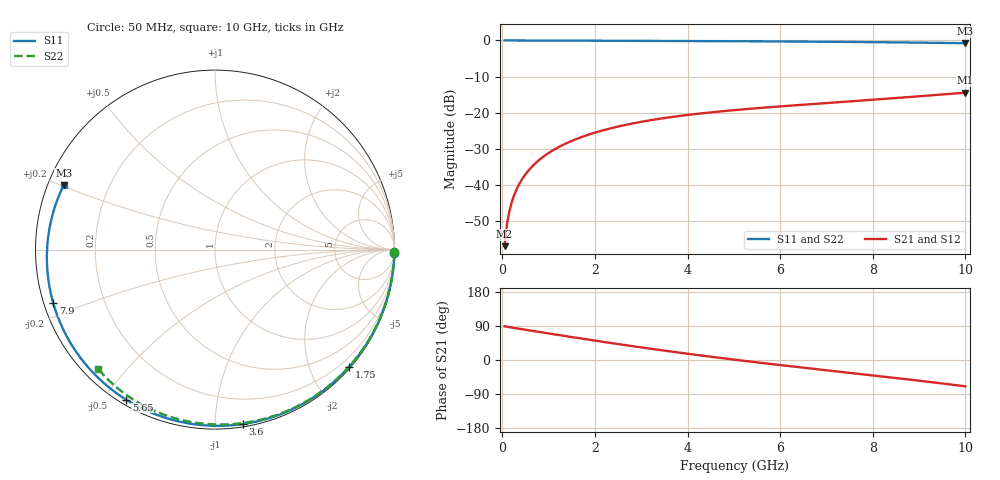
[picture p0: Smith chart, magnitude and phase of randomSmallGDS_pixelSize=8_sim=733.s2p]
! freq	dB(S11)	phase(S11)	dB(S12)	phase(S12)
!  dB(S21)	phase(S21)	dB(S22)	phase(S22)
!S-par simulation data
#  GHz  S  DB  R 50
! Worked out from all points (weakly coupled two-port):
!   200 points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, 50 MHz to 10 GHz, reference 50 ohm
!   highest |S21| = -14.46 dB at 10 GHz (marker M1); lowest = -56.9 dB at 50 MHz (marker M2)
!   lowest |S11| = -0.8 dB at 10 GHz (marker M3), VSWR 22.86, Z = 2.28 + j10.2 ohm
!   |S11| at or under -10 dB: nowhere
!   |S22| runs from -0.6 to 0.0 dB; largest |S21 - S12| = 0
!   S11 on the Smith chart (normalised r, x): 50 MHz: 1, -95; 1.75 GHz: 0.03, -2.67; 3.6 GHz: 0.02, -1.17; 5.65 GHz: 0.02, -0.57; 7.9 GHz: 0.03, -0.16; 10 GHz: 0.05, +0.20
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0.05  -0.00 -1.2  -56.95 88.9  -56.95 88.9  -0.00 -0.8
0.1  -0.00 -2.4  -50.94 87.8  -50.94 87.8  -0.00 -1.6
0.15  -0.00 -3.6  -47.43 86.7  -47.43 86.7  -0.00 -2.4
0.2  -0.01 -4.8  -44.95 85.7  -44.95 85.7  -0.00 -3.2
0.35  -0.01 -8.4  -40.13 82.7  -40.13 82.7  -0.01 -5.5
0.5  -0.02 -11.9  -37.06 79.8  -37.06 79.8  -0.01 -7.9
0.7  -0.02 -16.7  -34.18 75.9  -34.18 75.9  -0.02 -11.0
1  -0.03 -23.7  -31.15 70.0  -31.15 70.0  -0.02 -15.6
1.35  -0.04 -31.9  -28.67 63.3  -28.67 63.3  -0.03 -21.0
1.75  -0.06 -41.0  -26.57 55.8  -26.57 55.8  -0.04 -27.1
2.6  -0.09 -59.9  -23.54 40.2  -23.54 40.2  -0.07 -39.9
3.4  -0.13 -76.8  -21.67 26.4  -21.67 26.4  -0.10 -51.5
3.6  -0.14 -80.9  -21.30 23.1  -21.30 23.1  -0.10 -54.4
4.3  -0.17 -94.9  -20.18 11.8  -20.18 11.8  -0.13 -64.1
5.05  -0.21 -109.4  -19.24 0.3  -19.24 0.3  -0.16 -74.3
5.65  -0.25 -120.6  -18.60 -8.4  -18.60 -8.4  -0.19 -82.1
6.7  -0.33 -139.8  -17.60 -23.0  -17.60 -23.0  -0.25 -95.4
7.3  -0.39 -150.7  -17.06 -31.2  -17.06 -31.2  -0.30 -102.8
7.9  -0.45 -161.7  -16.51 -39.3  -16.51 -39.3  -0.35 -109.9
8.35  -0.51 -170.1  -16.08 -45.4  -16.08 -45.4  -0.40 -115.2
9.2  -0.63 173.4  -15.25 -57.5  -15.25 -57.5  -0.50 -125.1
10  -0.76 157.0  -14.46 -69.5  -14.46 -69.5  -0.62 -134.2
